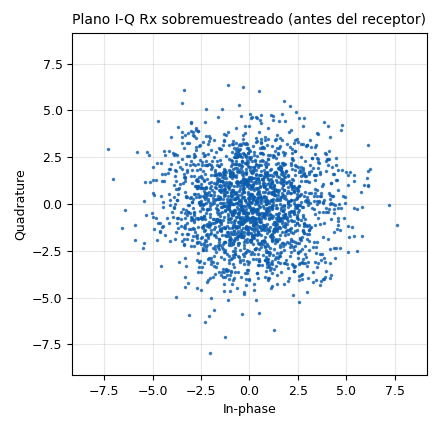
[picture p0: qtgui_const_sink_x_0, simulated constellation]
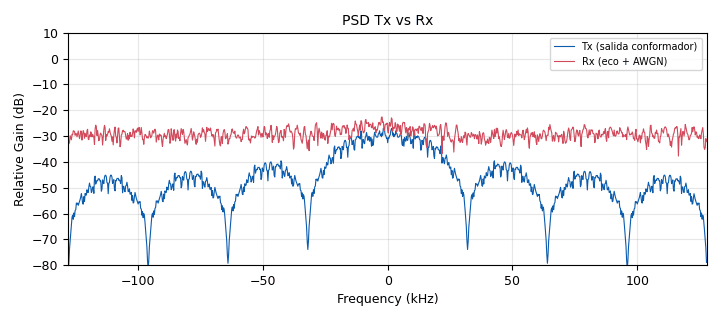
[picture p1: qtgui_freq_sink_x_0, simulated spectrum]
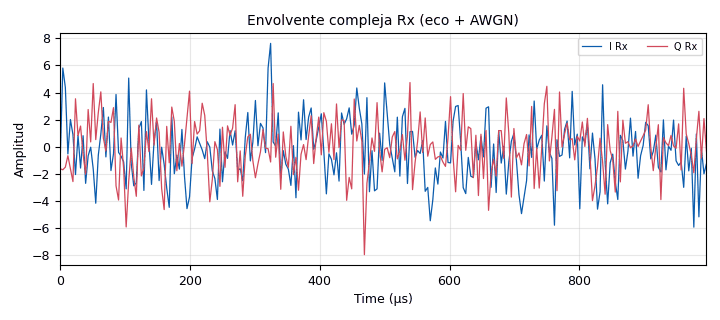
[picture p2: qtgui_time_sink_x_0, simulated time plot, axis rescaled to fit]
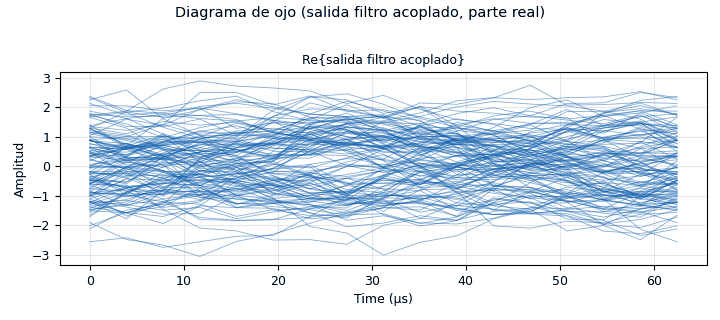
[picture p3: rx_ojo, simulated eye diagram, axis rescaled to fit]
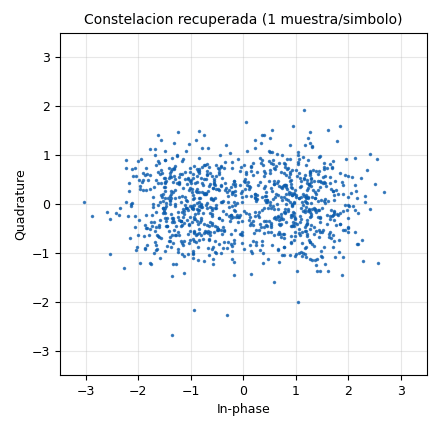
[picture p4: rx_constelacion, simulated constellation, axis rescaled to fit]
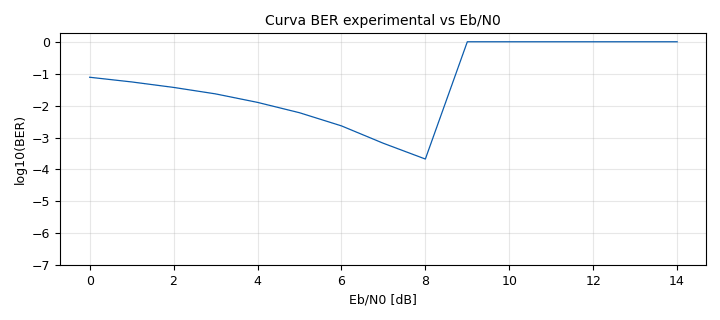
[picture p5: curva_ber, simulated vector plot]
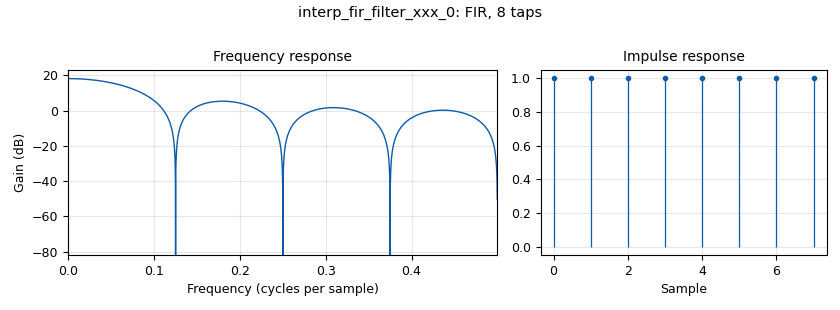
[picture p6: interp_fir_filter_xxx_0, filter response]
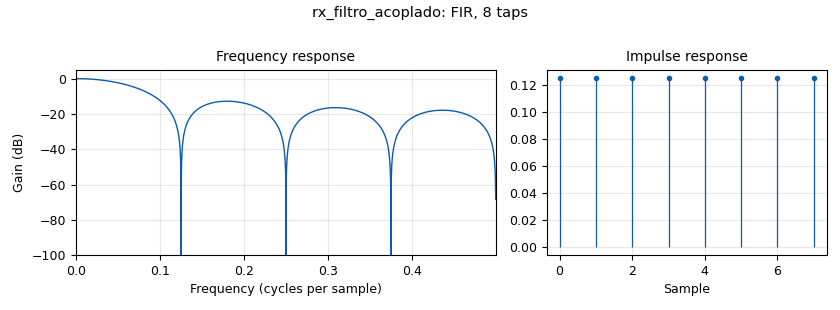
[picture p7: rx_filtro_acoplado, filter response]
options:
  parameters:
    author: 'Grupo 5: Elkin Largo, Stiven Muñoz, Minuk Lee'
    comment: GRC para analizar ruido AWGN en modulaciones basadas en constelaciones
    description: 'Integracion del instrumento BER de la Fase 4 sobre el sistema simulado. e_EbN0_Sweep sustituye a la fuente AWGN fija y se ubica justo antes del receptor (bb_rate=samp_rate). NO es una medicion SDR: el enlace fisico se reemplaza por el canal eco simulado.'
    generate_options: qt_gui
    id: S3_BER_Multitrayectoria_BPSK_Grupo5
    output_language: python
    title: S3 BER vs Eb/N0 - BPSK + eco - Grupo 5 (SIMULACION)
  states: {}

blocks:
- name: M
  id: variable
  parameters:
    value: len(tabla_de_verdad_constelacion)
  states: {}
- name: Rb
  id: variable
  parameters:
    value: Rs*bps
  states: {}
- name: Rs
  id: variable
  parameters:
    value: '32000'
  states: {}
- name: Sps
  id: variable
  parameters:
    value: '8'
  states: {}
- name: bps
  id: variable
  parameters:
    value: int(math.log(M,2))
  states: {}
- name: h
  id: variable
  parameters:
    value: '[1]*Sps'
  states: {}
- name: samp_rate
  id: variable
  parameters:
    value: Rs*Sps
  states: {}
- name: tabla_de_verdad_constelacion
  id: variable
  parameters:
    comment: Cambie esta tabla para OOK ASK BPSK QPSK 8PSK o 16QAM
    value: (-1+0j, 1+0j)
  states: {}
- name: analog_random_source_x_0
  id: analog_random_source_x
  parameters:
    max: '2'
    min: '0'
    num_samps: '1000'
    repeat: 'True'
    type: byte
  states: {}
- name: blocks_pack_k_bits_bb_0
  id: blocks_pack_k_bits_bb
  parameters:
    k: '8'
  states: {}
- name: blocks_packed_to_unpacked_xx_0
  id: blocks_packed_to_unpacked_xx
  parameters:
    bits_per_chunk: bps
    endianness: gr.GR_MSB_FIRST
    type: byte
  states: {}
- name: digital_chunks_to_symbols_xx_0
  id: digital_chunks_to_symbols_xx
  parameters:
    dimension: '1'
    in_type: byte
    out_type: complex
    symbol_table: tabla_de_verdad_constelacion
  states: {}
- name: import_0
  id: import
  parameters:
    imports: import math, cmath
  states: {}
- name: interp_fir_filter_xxx_0
  id: interp_fir_filter_xxx
  parameters:
    interp: Sps
    taps: h
    type: ccf
  states: {}
- name: qtgui_const_sink_x_0
  id: qtgui_const_sink_x
  parameters:
    autoscale: 'True'
    grid: 'True'
    gui_hint: 1,1,1,1
    label1: '"Rx (Sps muestras/simbolo)"'
    legend: 'False'
    name: '"Plano I-Q Rx sobremuestreado (antes del receptor)"'
    size: '2048'
    type: complex
  states: {}
- name: qtgui_freq_sink_x_0
  id: qtgui_freq_sink_x
  parameters:
    average: '0.2'
    bw: samp_rate
    fc: '0'
    fftsize: '1024'
    grid: 'True'
    gui_hint: 1,0,1,1
    label1: Tx (salida conformador)
    label2: Rx (eco + AWGN)
    name: '"PSD Tx vs Rx"'
    nconnections: '2'
    type: complex
    ymin: '-80'
  states: {}
- name: qtgui_time_sink_x_0
  id: qtgui_time_sink_x
  parameters:
    grid: 'True'
    gui_hint: 1,2,1,1
    label1: I Rx
    label2: Q Rx
    name: '"Envolvente compleja Rx (eco + AWGN)"'
    size: '256'
    srate: samp_rate
    type: complex
    ylabel: Amplitud
    ymax: '2.5'
    ymin: '-2.5'
    yunit: '"V"'
  states: {}
- name: throttle_0
  id: blocks_throttle2
  parameters:
    samples_per_second: samp_rate
    type: complex
  states: {}
- name: D_eco
  id: variable
  parameters:
    value: Sps
  states: {}
- name: eco_fase_deg
  id: variable
  parameters:
    value: '0'
  states: {}
- name: alpha_c
  id: variable
  parameters:
    value: eco_alpha*cmath.exp(1j*math.radians(eco_fase_deg))
  states: {}
- name: h_mf
  id: variable
  parameters:
    value: '[1.0/Sps]*Sps'
  states: {}
- name: N_ber
  id: variable
  parameters:
    value: '20000'
  states: {}
- name: eco_alpha
  id: variable_qtgui_chooser
  parameters:
    label: '"Prueba (|alpha| del eco)"'
    type: real
    num_opts: '4'
    value: '0'
    option0: '0'
    label0: '"A Referencia |a|=0"'
    option1: '0.2'
    label1: '"B Suave |a|=0.2"'
    option2: '0.5'
    label2: '"C Media |a|=0.5"'
    option3: '0.8'
    label3: '"D Fuerte |a|=0.8"'
    widget: radio_buttons
    orient: Qt.QHBoxLayout
    gui_hint: 0,0,1,1
  states: {}
- name: canal_eco_retardo
  id: blocks_delay
  parameters:
    type: complex
    delay: D_eco
  states: {}
- name: canal_eco_ganancia
  id: blocks_multiply_const_vxx
  parameters:
    type: complex
    const: alpha_c
  states: {}
- name: canal_suma_eco
  id: blocks_add_xx
  parameters:
    type: complex
  states: {}
- name: rx_filtro_acoplado
  id: fir_filter_xxx
  parameters:
    type: ccf
    decim: '1'
    taps: h_mf
  states: {}
- name: rx_real_ojo
  id: blocks_complex_to_real
  parameters: {}
  states: {}
- name: rx_ojo
  id: qtgui_eye_sink_x
  parameters:
    label1: Re{salida filtro acoplado}
    type: float
    ylabel: '"Amplitud"'
    size: '2048'
    samp_per_symbol: Sps
    srate: samp_rate
    grid: 'True'
    ymin: '-2'
    ymax: '2'
    entags: 'False'
    gui_hint: 2,0,1,1
    name: '"Diagrama de ojo (salida filtro acoplado, parte real)"'
  states: {}
- name: rx_muestreo
  id: blocks_keep_one_in_n
  parameters:
    type: complex
    n: Sps
  states: {}
- name: rx_constelacion
  id: qtgui_const_sink_x
  parameters:
    grid: 'True'
    gui_hint: 2,1,1,1
    label1: '"Decision"'
    legend: 'False'
    name: '"Constelacion recuperada (1 muestra/simbolo)"'
    size: '1024'
    type: complex
  states: {}
- name: rx_real_decision
  id: blocks_complex_to_real
  parameters: {}
  states: {}
- name: rx_decision
  id: digital_binary_slicer_fb
  parameters: {}
  states: {}
- name: ber_retardo_tx
  id: blocks_delay
  parameters:
    type: byte
    delay: '0'
  states: {}
- name: EbN0_min
  id: variable
  parameters:
    value: '0.0'
  states: {}
- name: EbN0_max
  id: variable
  parameters:
    value: '14.0'
  states: {}
- name: EbN0_step
  id: variable
  parameters:
    value: '1.0'
  states: {}
- name: N_EbN0
  id: variable
  parameters:
    value: int(round((EbN0_max-EbN0_min)/EbN0_step))+1
  states: {}
- name: bits_por_punto
  id: variable
  parameters:
    value: '100000'
  states: {}
- name: bits_guardia
  id: variable
  parameters:
    value: '1000'
  states: {}
- name: delay_bits
  id: variable
  parameters:
    value: '0'
  states: {}
- name: update_every
  id: variable
  parameters:
    value: '1000'
  states: {}
- name: bb_rate
  id: variable
  parameters:
    value: samp_rate
  states: {}
- name: Rb_ber
  id: variable
  parameters:
    value: Rb
  states: {}
- name: e_EbN0_Sweep
  id: epy_block
  parameters:
    EbN0_max: EbN0_max
    EbN0_min: EbN0_min
    EbN0_step: EbN0_step
    _source_code: |
      """
      e_EbN0_Sweep
      Instrumento para caracterización BER con un enlace SDR ya funcional.

      Entrada 0 : señal compleja I/Q recibida del SDR (preferiblemente DESPUÉS
                  de la adaptación radio_rate -> bb_rate).
      Salida 0  : la misma señal I/Q con AWGN adicional controlado.
      Salida 1  : valor instantáneo de Eb/N0 [dB] usado en el barrido.

      El bloque NO sustituye el USRP/HackRF ni el receptor. Se inserta entre
      la salida I/Q del SDR y la entrada del receptor digital.

      El barrido se hace por segmentos contiguos. Cada punto se mantiene durante:
          bits_guardia + bits_por_punto

      La potencia de ruido artificial se calcula a partir de la potencia promedio
      medida ANTES de agregar el ruido:

          Eb = Ps / Rb
          N0 = Eb / (Eb/N0)
          Pn = N0 * Fs

      por lo tanto:

          Pn = Ps * Fs / (Rb * 10**(EbN0_dB/10))

      El ruido complejo se genera con varianza total Pn.
      """

      import numpy as np
      from gnuradio import gr


      class blk(gr.sync_block):
          def __init__(self,
                       EbN0_min=0.0,
                       EbN0_max=14.0,
                       EbN0_step=1.0,
                       samp_rate=256000.0,
                       bit_rate=64000.0,
                       bits_por_punto=100000,
                       bits_guardia=1000,
                       signal_power=0.0,
                       seed=2026):
              gr.sync_block.__init__(
                  self,
                  name='e_EbN0_Sweep',
                  in_sig=[np.complex64],
                  out_sig=[np.complex64, np.float32]
              )

              self.EbN0_min = float(EbN0_min)
              self.EbN0_max = float(EbN0_max)
              self.EbN0_step = float(EbN0_step)
              self.samp_rate = float(samp_rate)
              self.bit_rate = float(bit_rate)
              self.bits_por_punto = max(1, int(bits_por_punto))
              self.bits_guardia = max(0, int(bits_guardia))
              self.signal_power_cfg = float(signal_power)

              if self.EbN0_step <= 0:
                  raise ValueError("EbN0_step debe ser > 0")
              if self.samp_rate <= 0 or self.bit_rate <= 0:
                  raise ValueError("samp_rate y bit_rate deben ser > 0")
              if self.EbN0_max < self.EbN0_min:
                  raise ValueError("EbN0_max debe ser >= EbN0_min")

              npts = int(round((self.EbN0_max-self.EbN0_min)/self.EbN0_step)) + 1
              self.eb_axis = self.EbN0_min + self.EbN0_step*np.arange(npts, dtype=np.float64)
              self.segment_bits = self.bits_guardia + self.bits_por_punto

              self.sample_count = 0
              self.power_sum = 0.0
              self.power_count = 0
              self.rng = np.random.default_rng(int(seed))

          def _signal_power(self, x):
              if self.signal_power_cfg > 0:
                  return self.signal_power_cfg

              # Promedio acumulado de la señal recibida ANTES del ruido artificial.
              self.power_sum += float(np.sum(np.abs(x.astype(np.complex128))**2))
              self.power_count += len(x)
              if self.power_count <= 0:
                  return 0.0
              return max(self.power_sum/self.power_count, 1e-20)

          def work(self, input_items, output_items):
              x = input_items[0]
              y = output_items[0]
              eb_out = output_items[1]
              n = len(x)
              if n == 0:
                  return 0

              Ps = self._signal_power(x)

              # Índice absoluto de muestra -> índice equivalente de bit.
              s = self.sample_count + np.arange(n, dtype=np.float64)
              bit_index = np.floor(s*self.bit_rate/self.samp_rate).astype(np.int64)

              segment_index = bit_index // self.segment_bits
              point_index = np.mod(segment_index, len(self.eb_axis))
              ebn0_db = self.eb_axis[point_index]
              ebn0_lin = np.power(10.0, ebn0_db/10.0)

              # Potencia total del ruido complejo por muestra.
              noise_power = Ps*self.samp_rate/(self.bit_rate*ebn0_lin)
              sigma_iq = np.sqrt(np.maximum(noise_power, 0.0)/2.0)

              noise = (
                  self.rng.standard_normal(n)*sigma_iq
                  + 1j*self.rng.standard_normal(n)*sigma_iq
              ).astype(np.complex64)

              y[:] = x + noise
              eb_out[:] = ebn0_db.astype(np.float32)

              self.sample_count += n
              return n
    bit_rate: Rb_ber
    bits_guardia: bits_guardia
    bits_por_punto: bits_por_punto
    samp_rate: bb_rate
    seed: '2026'
    signal_power: '0.0'
  states: {}
- name: e_BER_Curve
  id: epy_block
  parameters:
    _source_code: |
      """
      e_BER_Curve
      Acumulador de curva BER para los sistemas de los estudiantes.

      Entrada 0 : bits transmitidos de referencia (byte 0/1).
      Entrada 1 : bits recuperados por el receptor (byte 0/1).

      Salida 0  : vector BER lineal.
      Salida 1  : vector log10(BER) para QT GUI Vector Sink.

      El bloque usa exactamente el mismo barrido que e_EbN0_Sweep. Para cada punto:
      - ignora bits_guardia al comienzo del segmento;
      - compara bits_por_punto;
      - cuando el barrido vuelve a un punto, sigue acumulando estadísticas.

      delay_bits retrasa internamente la referencia Tx para compensar el retardo
      del receptor. Se ajusta primero en una condición limpia hasta lograr BER≈0.

      Cuando todavía no se observa ningún error, la salida logarítmica utiliza
      3/N como cota superior aproximada para poder mostrar el punto sin afirmar
      que BER=0.
      """

      import numpy as np
      from collections import deque
      from gnuradio import gr


      class blk(gr.decim_block):  # CORRECCION G5: gr.sync_decimator no es bloque Python en GR 3.10
          def __init__(self,
                       EbN0_min=0.0,
                       EbN0_max=14.0,
                       EbN0_step=1.0,
                       bits_por_punto=100000,
                       bits_guardia=1000,
                       delay_bits=0,
                       update_every=1000):
              self.EbN0_min = float(EbN0_min)
              self.EbN0_max = float(EbN0_max)
              self.EbN0_step = float(EbN0_step)
              self.bits_por_punto = max(1, int(bits_por_punto))
              self.bits_guardia = max(0, int(bits_guardia))
              self.delay_bits = max(0, int(delay_bits))
              self.update_every = max(1, int(update_every))

              if self.EbN0_step <= 0:
                  raise ValueError("EbN0_step debe ser > 0")
              if self.EbN0_max < self.EbN0_min:
                  raise ValueError("EbN0_max debe ser >= EbN0_min")

              npts = int(round((self.EbN0_max-self.EbN0_min)/self.EbN0_step)) + 1
              self.eb_axis = self.EbN0_min + self.EbN0_step*np.arange(npts, dtype=np.float64)
              self.N = len(self.eb_axis)
              self.segment_bits = self.bits_guardia + self.bits_por_punto

              gr.decim_block.__init__(
                  self,
                  name='e_BER_Curve',
                  in_sig=[np.int8, np.int8],
                  out_sig=[(np.float32, self.N), (np.float32, self.N)],
                  decim=self.update_every
              )

              self.tx_fifo = deque([0]*self.delay_bits)
              self.raw_items = 0
              self.valid_bit_index = 0

              self.count = np.zeros(self.N, dtype=np.int64)
              self.errors = np.zeros(self.N, dtype=np.int64)

          def _process(self, tx, rx):
              for t, r in zip(tx, rx):
                  tb = int(t) & 1
                  rb = int(r) & 1

                  if self.delay_bits > 0:
                      self.tx_fifo.append(tb)
                      t_aligned = self.tx_fifo.popleft()
                      if self.raw_items < self.delay_bits:
                          self.raw_items += 1
                          continue
                  else:
                      t_aligned = tb

                  bit_index = self.valid_bit_index
                  segment_index = bit_index // self.segment_bits
                  point_index = segment_index % self.N
                  pos = bit_index % self.segment_bits

                  # Dejar que filtros/sincronizadores se estabilicen después
                  # del cambio de nivel de ruido.
                  if pos >= self.bits_guardia:
                      self.count[point_index] += 1
                      if t_aligned != rb:
                          self.errors[point_index] += 1

                  self.valid_bit_index += 1
                  self.raw_items += 1

          def _vectors(self):
              ber = np.zeros(self.N, dtype=np.float32)
              logber = np.zeros(self.N, dtype=np.float32)

              for i in range(self.N):
                  n = int(self.count[i])
                  e = int(self.errors[i])

                  if n <= 0:
                      ber[i] = 0.0
                      logber[i] = 0.0
                  elif e > 0:
                      b = e/float(n)
                      ber[i] = b
                      logber[i] = np.log10(max(b, 1e-12))
                  else:
                      # BER observado = 0; para la gráfica usamos una cota superior.
                      ber[i] = 0.0
                      upper = min(1.0, 3.0/float(n))
                      logber[i] = np.log10(max(upper, 1e-12))

              return ber, logber

          def work(self, input_items, output_items):
              tx = input_items[0]
              rx = input_items[1]
              out_ber = output_items[0]
              out_log = output_items[1]

              nout = len(out_ber)
              D = self.update_every

              for k in range(nout):
                  a = k*D
                  b = min((k+1)*D, len(tx))
                  if a < b:
                      self._process(tx[a:b], rx[a:b])

                  ber, logber = self._vectors()
                  out_ber[k, :] = ber
                  out_log[k, :] = logber

              return nout
    EbN0_min: EbN0_min
    EbN0_max: EbN0_max
    EbN0_step: EbN0_step
    bits_por_punto: bits_por_punto
    bits_guardia: bits_guardia
    delay_bits: delay_bits
    update_every: update_every
  states: {}
- name: e_BER_CSV
  id: epy_block
  parameters:
    EbN0_max: EbN0_max
    EbN0_min: EbN0_min
    EbN0_step: EbN0_step
    _source_code: |
      import numpy as np
      from gnuradio import gr
      from pathlib import Path
      import csv
      import time


      class blk(gr.sync_block):

          def __init__(self,
                       EbN0_min=0.0,
                       EbN0_max=14.0,
                       EbN0_step=1.0,
                       nombre_archivo="curva_BER.csv",
                       guardar_cada=2.0):

              self.EbN0_min = float(EbN0_min)
              self.EbN0_max = float(EbN0_max)
              self.EbN0_step = float(EbN0_step)

              self.N = int(round(
                  (self.EbN0_max - self.EbN0_min) /
                  self.EbN0_step
              )) + 1

              gr.sync_block.__init__(
                  self,
                  name='Guardar curva BER en CSV',
                  in_sig=[
                      (np.float32, self.N),
                      (np.float32, self.N)
                  ],
                  out_sig=None
              )

              self.nombre_archivo = str(nombre_archivo)
              self.guardar_cada = float(guardar_cada)

              # El Embedded Python Block se genera junto al flowgraph de GNU Radio.
              # Por ello el CSV queda en la misma carpeta contenedora del .grc/.py.
              try:
                  self.carpeta = Path(__file__).resolve().parent
              except NameError:  # CORRECCION G5: GRC instancia el bloque sin __file__ al validarlo
                  self.carpeta = Path.cwd()
              self.ruta_csv = self.carpeta / self.nombre_archivo

              self.ultimo_guardado = 0.0
              self.ebn0 = self.EbN0_min + self.EbN0_step * np.arange(self.N)

              print("CSV BER se guardará en:")
              print(self.ruta_csv)

          def guardar(self, ber, logber):
              archivo_temporal = self.ruta_csv.with_suffix(".tmp")

              with open(archivo_temporal, "w", newline="", encoding="utf-8") as f:
                  writer = csv.writer(f)
                  writer.writerow(["EbN0_dB", "BER", "log10_BER"])

                  for eb, b, lb in zip(self.ebn0, ber, logber):
                      writer.writerow([
                          f"{eb:.6f}",
                          f"{float(b):.12e}",
                          f"{float(lb):.12e}"
                      ])

              archivo_temporal.replace(self.ruta_csv)

          def work(self, input_items, output_items):
              ber_vectors = input_items[0]
              log_vectors = input_items[1]

              if len(ber_vectors) == 0:
                  return 0

              ahora = time.time()
              if ahora - self.ultimo_guardado >= self.guardar_cada:
                  self.guardar(ber_vectors[-1], log_vectors[-1])
                  self.ultimo_guardado = ahora

              return len(ber_vectors)
    comment: Guarda automáticamente la curva BER actual en curva_BER.csv.
    guardar_cada: '2.0'
    nombre_archivo: '"curva_BER.csv"'
  states: {}
- name: null_ebn0
  id: blocks_null_sink
  parameters:
    type: float
  states: {}
- name: curva_ber
  id: qtgui_vector_sink_f
  parameters:
    grid: 'True'
    gui_hint: 0,2,1,1
    label1: '"BER"'
    name: '"Curva BER experimental vs Eb/N0"'
    update_time: '0.2'
    vlen: N_EbN0
    width1: '3'
    x_axis_label: '"Eb/N0 [dB]"'
    x_start: EbN0_min
    x_step: EbN0_step
    x_units: '"dB"'
    y_axis_label: '"log10(BER)"'
    ymax: '0'
    ymin: '-7'
  states: {}

connections:
- [analog_random_source_x_0, '0', blocks_pack_k_bits_bb_0, '0']
- [e_EbN0_Sweep, '0', qtgui_const_sink_x_0, '0']
- [e_EbN0_Sweep, '0', qtgui_time_sink_x_0, '0']
- [blocks_pack_k_bits_bb_0, '0', blocks_packed_to_unpacked_xx_0, '0']
- [blocks_packed_to_unpacked_xx_0, '0', digital_chunks_to_symbols_xx_0, '0']
- [digital_chunks_to_symbols_xx_0, '0', interp_fir_filter_xxx_0, '0']
- [interp_fir_filter_xxx_0, '0', throttle_0, '0']
- [throttle_0, '0', canal_suma_eco, '0']
- [throttle_0, '0', canal_eco_retardo, '0']
- [canal_eco_retardo, '0', canal_eco_ganancia, '0']
- [canal_eco_ganancia, '0', canal_suma_eco, '1']
- [throttle_0, '0', qtgui_freq_sink_x_0, '0']
- [e_EbN0_Sweep, '0', qtgui_freq_sink_x_0, '1']
- [e_EbN0_Sweep, '0', rx_filtro_acoplado, '0']
- [rx_filtro_acoplado, '0', rx_real_ojo, '0']
- [rx_real_ojo, '0', rx_ojo, '0']
- [rx_filtro_acoplado, '0', rx_muestreo, '0']
- [rx_muestreo, '0', rx_constelacion, '0']
- [rx_muestreo, '0', rx_real_decision, '0']
- [rx_real_decision, '0', rx_decision, '0']
- [blocks_packed_to_unpacked_xx_0, '0', ber_retardo_tx, '0']
- [canal_suma_eco, '0', e_EbN0_Sweep, '0']
- [e_EbN0_Sweep, '1', null_ebn0, '0']
- [ber_retardo_tx, '0', e_BER_Curve, '0']
- [rx_decision, '0', e_BER_Curve, '1']
- [e_BER_Curve, '0', e_BER_CSV, '0']
- [e_BER_Curve, '1', e_BER_CSV, '1']
- [e_BER_Curve, '1', curva_ber, '0']

metadata:
  file_format: 1
  grc_version: 3.10.12.0
